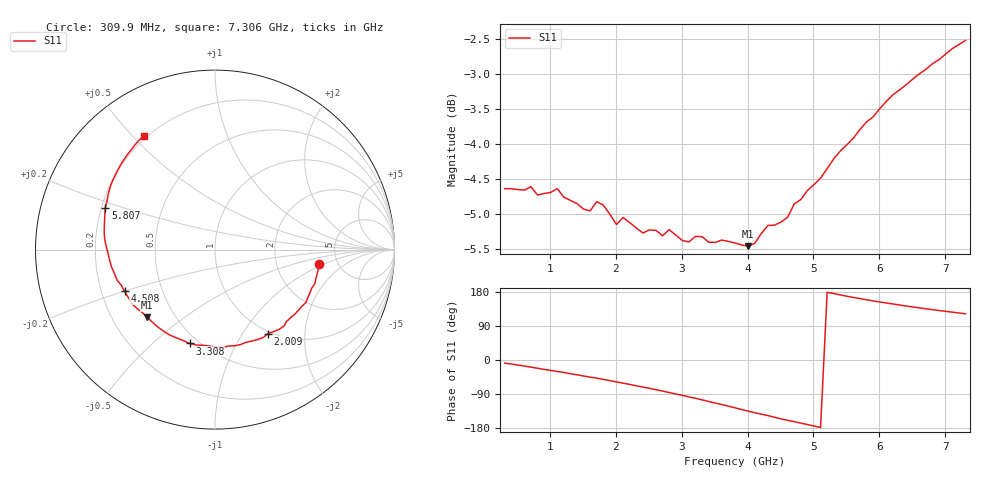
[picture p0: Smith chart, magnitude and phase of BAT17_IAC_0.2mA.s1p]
! Infineon Technologies  Discrete & RF Semiconductors
! BAT17
! IAC = 0.2 mA
! One-Port S-Parameters
# Hz  S  MA  R  50
!f  S11
!Hz  Mag  Ang
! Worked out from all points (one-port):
!   71 points, 309.9 MHz to 7.306 GHz, reference 50 ohm
!   lowest |S11| = -5.5 dB at 4.008 GHz (marker M1), VSWR 3.28, Z = 17.6 - j18.5 ohm
!   |S11| at or under -10 dB: nowhere
!   S11 on the Smith chart (normalised r, x): 309.9 MHz: 3.59, -0.90; 2.009 GHz: 0.97, -1.31; 3.308 GHz: 0.45, -0.66; 4.508 GHz: 0.30, -0.20; 5.807 GHz: 0.22, +0.18; 7.306 GHz: 0.19, +0.54
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3.0985e8  0.5861 -8.1
7.0965e8  0.5879 -18.9
8.096e8  0.58 -21.7
1.10945e9  0.5861 -30.3
1.2094e9  0.5779 -32.9
1.6092e9  0.5651 -45.3
1.70915e9  0.5737 -47.8
2.009e9  0.5526 -57.8
2.10895e9  0.559 -61.0
2.4088e9  0.5449 -71.4
2.6087e9  0.5472 -78.4
2.8086e9  0.5478 -85.8
3.0085e9  0.5382 -93.3
3.30835e9  0.5416 -105.2
3.6082e9  0.5386 -117.5
3.8081e9  0.536 -126.2
4.008e9  0.5332 -135.0
4.30785e9  0.5516 -146.6
4.50775e9  0.5547 -155.3
4.70765e9  0.5716 -162.7
4.90755e9  0.5842 -170.3
5.30735e9  0.6155 175.2
5.6072e9  0.637 165.0
5.8071e9  0.6541 159.0
6.2069e9  0.6839 147.8
6.50675e9  0.7017 140.0
7.0065e9  0.7312 128.4
7.30635e9  0.7477 122.0
